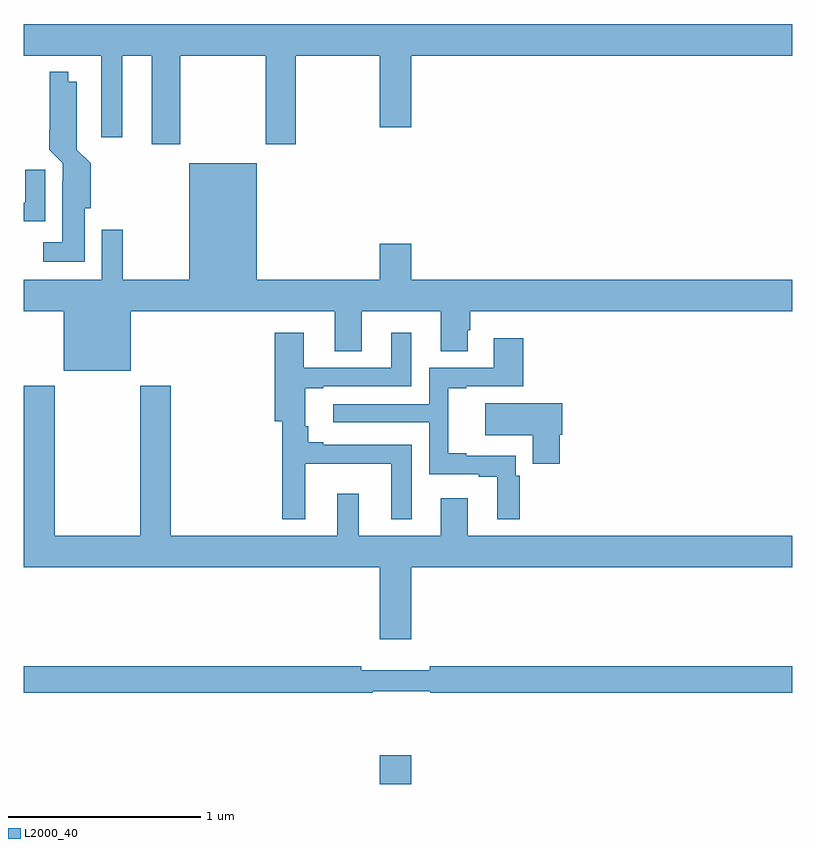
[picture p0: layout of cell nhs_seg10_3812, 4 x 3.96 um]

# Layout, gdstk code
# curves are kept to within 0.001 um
import gdstk
lib = gdstk.Library(unit=1e-6, precision=1e-09)
def R(c, l, rs):  # rectangles x0, y0, x1, y1
    for r in rs: c.add(gdstk.rectangle(r[:2], r[2:], *l))
def P(c, l, *ps):  # polygons
    for p in ps: c.add(gdstk.Polygon(p, *l))
L2000_40 = (2000, 40)

nhs_seg10_3812 = lib.new_cell('nhs_seg10_3812')
R(nhs_seg10_3812, L2000_40, [(320.852,1320.5,321.016,1320.649)])
P(nhs_seg10_3812, L2000_40, [(319.815,1324.292),(320.26,1324.292),(320.26,1323.831),(320.415,1323.831),(320.415,1324.292),(320.852,1324.292),(320.852,1323.918),(321.016,1323.918),(321.016,1324.292),(323,1324.292),(323,1324.456),(319,1324.456),(319,1324.292),(319.403,1324.292),(319.403,1323.867),(319.513,1323.867),(319.513,1324.292),(319.667,1324.292),(319.667,1323.831),(319.815,1323.831)],
  [(319.318,1323.498),(319.349,1323.498),(319.349,1323.73),(319.277,1323.802),(319.276,1324.156),(319.231,1324.156),(319.231,1324.207),(319.134,1324.207),(319.133,1323.802),(319.203,1323.732),(319.203,1323.638),(319.199,1323.638),(319.199,1323.319),(319.101,1323.319),(319.101,1323.218),(319.318,1323.218)],
  [(319.558,1322.96),(320.618,1322.96),(320.618,1322.752),(320.758,1322.752),(320.758,1322.96),(321.17,1322.96),(321.17,1322.752),(321.31,1322.752),(321.31,1322.862),(321.323,1322.862),(321.323,1322.96),(323,1322.96),(323,1323.124),(321.016,1323.124),(321.016,1323.313),(320.852,1323.313),(320.852,1323.124),(320.212,1323.124),(320.212,1323.73),(319.862,1323.73),(319.862,1323.124),(319.516,1323.124),(319.516,1323.385),(319.407,1323.385),(319.407,1323.124),(319,1323.124),(319,1322.96),(319.208,1322.96),(319.208,1322.651),(319.558,1322.651)],
  [(319.111,1323.697),(319.007,1323.697),(319.007,1323.525),(319,1323.525),(319,1323.429),(319.111,1323.429)],
  [(320.464,1322.168),(320.912,1322.168),(320.912,1321.877),(321.019,1321.877),(321.019,1322.265),(320.56,1322.265),(320.56,1322.278),(320.482,1322.278),(320.482,1322.362),(320.464,1322.362),(320.464,1322.559),(320.56,1322.559),(320.56,1322.571),(321.016,1322.571),(321.016,1322.848),(320.912,1322.848),(320.912,1322.667),(320.458,1322.667),(320.458,1322.848),(320.306,1322.848),(320.306,1322.387),(320.346,1322.387),(320.346,1321.877),(320.464,1321.877)],
  [(321.581,1322.105),(321.561,1322.105),(321.561,1322.208),(321.304,1322.208),(321.304,1322.221),(321.209,1322.221),(321.209,1322.559),(321.304,1322.559),(321.304,1322.571),(321.599,1322.571),(321.599,1322.821),(321.446,1322.821),(321.446,1322.667),(321.111,1322.667),(321.111,1322.478),(320.61,1322.478),(320.61,1322.382),(321.111,1322.382),(321.111,1322.112),(321.368,1322.112),(321.368,1322.1),(321.464,1322.1),(321.464,1321.877),(321.581,1321.877)],
  [(320.743,1322.011),(320.633,1322.011),(320.633,1321.792),(319.766,1321.792),(319.766,1322.572),(319.606,1322.572),(319.606,1321.792),(319.161,1321.792),(319.161,1322.572),(319.001,1322.572),(319.001,1321.792),(319,1321.792),(319,1321.628),(320.852,1321.628),(320.852,1321.254),(321.016,1321.254),(321.016,1321.628),(323,1321.628),(323,1321.792),(321.31,1321.792),(321.31,1321.987),(321.17,1321.987),(321.17,1321.792),(320.743,1321.792)],
  [(321.791,1322.319),(321.803,1322.319),(321.803,1322.482),(321.402,1322.482),(321.402,1322.315),(321.65,1322.315),(321.65,1322.166),(321.791,1322.166)],
  [(320.816,1320.984),(321.116,1320.984),(321.116,1320.976),(323,1320.976),(323,1321.112),(321.112,1321.112),(321.112,1321.093),(320.756,1321.093),(320.756,1321.112),(319,1321.112),(319,1320.976),(320.816,1320.976)])

lib.write_gds('nhs_seg10_3812.gds')
